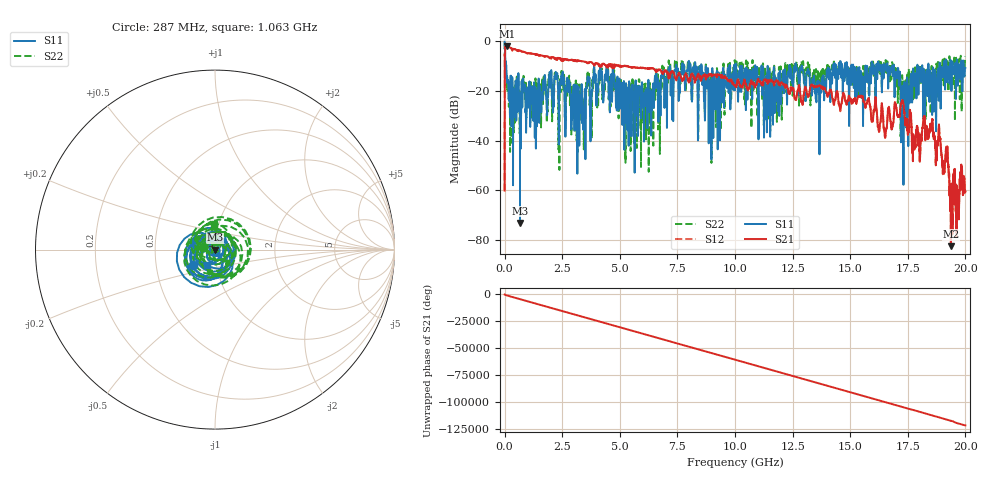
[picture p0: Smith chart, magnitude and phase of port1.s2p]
! MS46122B
! 2250307/22442219
! 2/20/2026 8:52:08 AM
! C:\USERS\SPARKY\DOCUMENTS\VNA_DATA\FEB20_2026\PORT1.S2P
! CHANNEL.1
! TR.MEASUREMENT
! RAW.DATA
# GHZ S RI R 50.0
! FREQ.GHZ  S11RE  S11IM  S21RE  S21IM  S12RE  S12IM  S22RE  S22IM
!; PortSelection: Port_12
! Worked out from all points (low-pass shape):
!   10001 points, 1 MHz to 20 GHz, reference 50 ohm
!   highest |S21| = -1.99 dB at 93 MHz (marker M1); lowest = -82.6 dB at 19.37 GHz (marker M2)
!   |S21| within 3 dB of the highest: 20.06 MHz to 1.247 GHz (1.227 GHz wide, 194 % of centre)
!   lowest |S11| = -73.2 dB at 669 MHz (marker M3), VSWR 1.00, Z = 50 - j0.0125 ohm
!   |S11| at or under -10 dB: 76.46 MHz to 4.151 GHz (4.074 GHz wide, 193 % of centre); 4.158 GHz to 7.171 GHz (3.013 GHz wide, 53.2 % of centre); 12.91 GHz to 14.24 GHz (1.331 GHz wide, 9.8 % of centre) (the widest 3 of 60)
!   |S22| runs from -52.6 to -0.2 dB; largest |S21 - S12| = 0.068
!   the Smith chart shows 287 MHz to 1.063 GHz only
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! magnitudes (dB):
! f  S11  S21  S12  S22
! 1 MHz  0.4  -60.2  -60.3  -0.2
! 93 MHz  -15.0  -2.0  -2.1  -18.3
! 669 MHz  -73.2  -3.7  -3.7  -26.6
! 2.495 GHz  -14.5  -7.0  -7.0  -16.4
! 3.335 GHz  -18.9  -8.0  -8.1  -19.0
! 4.139 GHz  -11.5  -9.8  -10.0  -12.5
! 5.263 GHz  -17.1  -9.9  -9.9  -30.6
! 6.669 GHz  -24.6  -11.3  -11.4  -26.6
! 7.443 GHz  -9.4  -15.5  -15.4  -10.3
! 9.281 GHz  -12.4  -13.5  -13.3  -15.6
! 10 GHz  -18.6  -18.0  -17.3  -8.5
! 11.55 GHz  -26.3  -15.6  -15.6  -13.3
! 12.64 GHz  -9.2  -23.4  -23.6  -12.0
! 13.33 GHz  -21.9  -17.4  -17.5  -16.9
! 16.67 GHz  -13.3  -27.4  -27.4  -12.1
! 17.08 GHz  -10.6  -30.4  -30.4  -18.0
! 17.29 GHz  -19.6  -24.4  -24.3  -32.4
! 17.76 GHz  -14.5  -41.2  -41.3  -11.4
! 18.54 GHz  -21.2  -33.2  -33.5  -9.9
! 19.21 GHz  -16.3  -43.1  -43.3  -9.2
! 19.37 GHz  -8.4  -82.6  -80.0  -9.9
! 20 GHz  -10.7  -60.5  -61.2  -6.0
